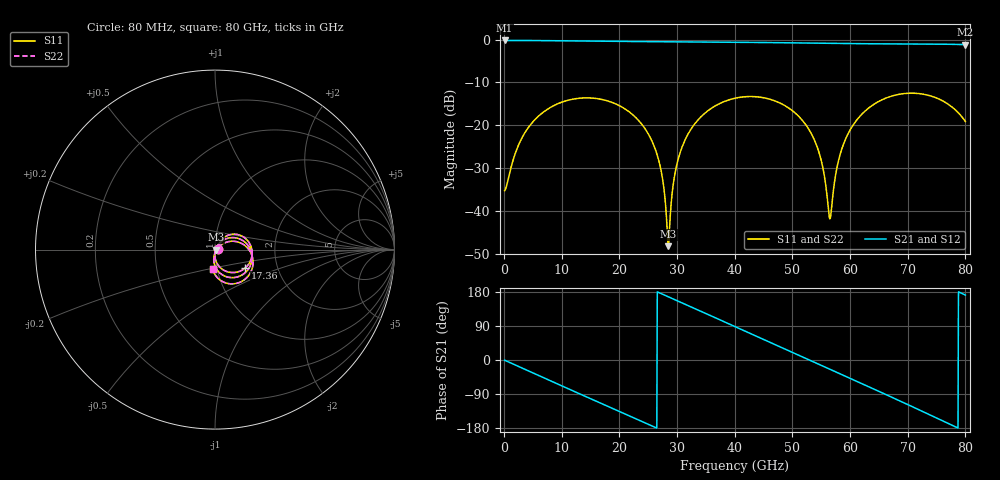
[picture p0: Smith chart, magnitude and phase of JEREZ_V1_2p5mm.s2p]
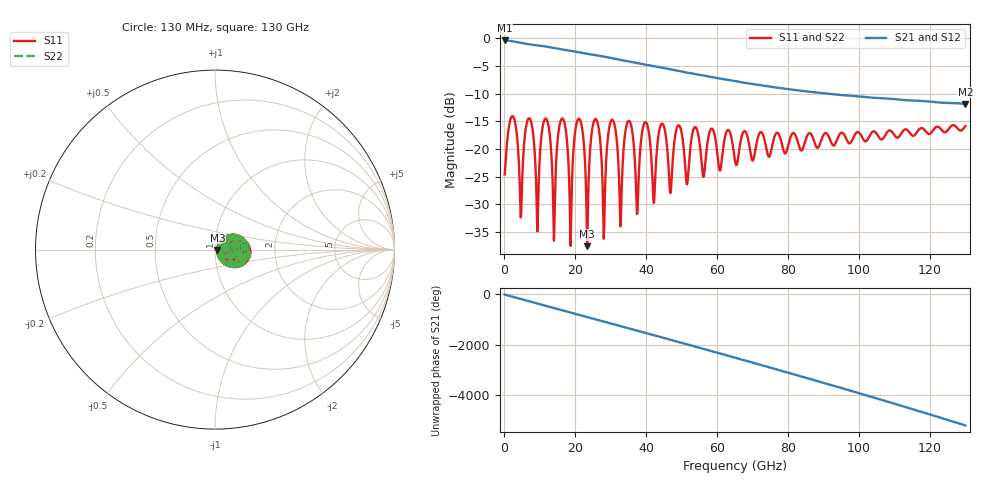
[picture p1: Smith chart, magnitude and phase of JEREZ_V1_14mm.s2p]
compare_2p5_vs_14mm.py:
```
"""Why does the 2.5 mm line, extrapolated to 14 mm, give a different EO bandwidth
than the 14 mm line?  (DESIGN_JEREZ_V1_suspe_siliconetch_275, CST TD.)

Run:  python compare_2p5_vs_14mm.py      -> prints the report, writes
      eo_bw_2p5_vs_14mm.png and eo_bw_2p5_vs_14mm.json next to this file.

Fixed choices (change here):  Rt = 55 ohm (load), Zs = 50 ohm (source),
n_g = 2.27 (thesis central value, 500-LHS range 2.24-2.29), device L = 14 mm.

The two CST runs are NOT identical apart from length.  From the file headers:
    2.5 mm : NCELL = 11, START_POSITION = 0.15 mm, w = 180 um
    14  mm : NCELL = 69, START_POSITION = 0.10 mm, w = 200 um
so the 2.5 mm line is 0.15 mm plain CPW + 2.2 mm loaded + 0.15 mm plain CPW
(12 % of its length unloaded), the 14 mm line is 1.4 % unloaded.
"""
import json
import os

import numpy as np
from scipy.optimize import minimize

from tline import (C0, abcd_to_s, bw3db, eo_db, eo_response, gamma_L,
                   read_s2p, s_to_abcd)

HERE = os.path.dirname(os.path.abspath(__file__))
RT, ZS, NG, LDEV = 55.0, 50.0, 2.27, 14e-3
L_S, L_L = 2.5e-3, 14e-3
END_S, LMID_S = 0.15e-3, 2.2e-3          # 2.5 mm line: unloaded ends, loaded core


def dbcm(g):                              # gamma [1/m] -> alpha [dB/cm]
    return 20 / np.log(10) * g.real / 100


def nm(f, g):
    return g.imag * C0 / (2 * np.pi * f)


# ---- ABCD helpers for de-embedding the unloaded end sections ---------------
def _line(g, z, L):
    return np.cosh(g * L), z * np.sinh(g * L), np.sinh(g * L) / z, np.cosh(g * L)


def _inv(X):
    A, B, C, D = X
    det = A * D - B * C
    return D / det, -B / det, -C / det, A / det


def _mul(X, Y):
    A1, B1, C1, D1 = X
    A2, B2, C2, D2 = Y
    return A1 * A2 + B1 * C2, A1 * B2 + B1 * D2, C1 * A2 + D1 * C2, C1 * B2 + D1 * D2


def _shunt(Y):
    o = np.ones_like(Y)
    return o, 0 * Y, Y, o


def _series(Z):
    o = np.ones_like(Z)
    return o, Z, 0 * Z, o


def deembed_ends(f, S, z0, p, alpha_u, end, lmid):
    """Strip an end box from both sides and return gamma [1/m], Zc of the core.
    End box, port side -> core:  plain CPW (n_u, Z_u, alpha_u [Np/m], length
    `end`), then a junction series L_j and shunt C_j.  p = (n_u, Z_u, C_j, L_j)."""
    n_u, z_u, c_j, l_j = p
    w = 2 * np.pi * f
    E = _mul(_line(alpha_u + 1j * w * n_u / C0, z_u + 0j, end),
             _mul(_series(1j * w * l_j), _shunt(1j * w * c_j)))
    E_out = (E[3], E[1], E[2], E[0])                  # mirrored box, output side
    core = _mul(_mul(_inv(E), s_to_abcd(S, z0)), _inv(E_out))
    gl, zc = gamma_L(abcd_to_s(*core, z0), z0)
    return gl / lmid, zc


END_MODELS = {'line': (0, 0), 'line+Cj': (1, 0), 'line+Lj': (0, 1), 'line+Cj+Lj': (1, 1)}


def fit_ends_from_short_line_only(f, S, z0, model='line'):
    """Choose the end-box parameters so the de-embedded core alpha(f), Zc(f)
    are smooth.  Uses ONLY the 2.5 mm file - nothing from the 14 mm line.
    Ends are assumed to lose like the core (self-consistent, 3 passes)."""
    use_c, use_l = END_MODELS[model]
    band = (f > 2e9) & (f < 79e9)
    au = np.zeros(len(f))
    unpack = lambda q: (q[0], q[1], q[2] * 1e-15 * use_c, q[3] * 1e-12 * use_l)

    def rough(q):
        g, z = deembed_ends(f, S, z0, unpack(q), au, END_S, LMID_S)
        return (np.sum(np.diff(dbcm(g)[band], 2) ** 2)
                + 1e-4 * np.sum(np.abs(np.diff(z[band], 2)) ** 2))

    starts = [[n0, z0_, c0, l0] for n0 in (1.9, 2.2) for z0_ in (50, 65)
              for c0 in ((0, 5, 20) if use_c else (0,))
              for l0 in ((0, 5, 20) if use_l else (0,))]
    for _ in range(3):
        best = min((minimize(rough, q0, method='Nelder-Mead',
                             options=dict(xatol=1e-5, fatol=1e-14, maxiter=8000))
                    for q0 in starts), key=lambda r: r.fun)
        p = unpack(best.x)
        g, z = deembed_ends(f, S, z0, p, au, END_S, LMID_S)
        k = np.polyfit(np.sqrt(f[band]), g.real[band], 1)
        au = np.polyval(k, np.sqrt(f)).clip(0)
    return p, k, g, z


def main():
    fs, Ss, z0 = read_s2p(os.path.join(HERE, 'data/JEREZ_V1_2p5mm.s2p'))
    fl, Sl, _ = read_s2p(os.path.join(HERE, 'data/JEREZ_V1_14mm.s2p'))
    fs, Ss, fl, Sl = fs[1:], Ss[1:], fl[1:], Sl[1:]    # drop DC (TD-extrapolated)

    gls, zs = gamma_L(Ss, z0)
    gll, zl = gamma_L(Sl, z0)
    g_s = gls / L_S
    # 14 mm quantities on the 2.5 mm grid (smooth, so interpolation is safe)
    g_l = (np.interp(fs, fl, gll.real) + 1j * np.interp(fs, fl, gll.imag)) / L_L
    z_l = np.interp(fs, fl, zl.real) + 1j * np.interp(fs, fl, zl.imag)

    def bw(g, z, f=fs):
        return bw3db(f, eo_db(eo_response(f, g, z, LDEV, NG, RT, ZS))) / 1e9

    res = {'settings': dict(Rt=RT, Zs=ZS, ng=NG, L_device_mm=LDEV * 1e3)}
    res['bw_GHz'] = {
        '2.5mm_extrapolated': bw(g_s, zs),
        '14mm': bw(gll / L_L, zl, fl),
    }
    # attribution: take alpha, beta, Zc from one line or the other
    att = {}
    for a in 'sl':
        for b in 'sl':
            for z in 'sl':
                g = ({'s': g_s, 'l': g_l}[a].real
                     + 1j * {'s': g_s, 'l': g_l}[b].imag)
                att[f'alpha={a},beta={b},Zc={z}'] = bw(g, {'s': zs, 'l': z_l}[z])
    res['attribution_GHz'] = att

    # half-wave resonances of the 2.5 mm line (beta L = k pi)
    n_mid = np.median(nm(fs, g_s)[(fs > 5e9)])
    res['halfwave_2p5mm_GHz'] = [k * C0 / (2 * n_mid * L_S) / 1e9 for k in (1, 2, 3)]

    # de-embed the ends: fit on the 2.5 mm file alone, apply the SAME end box
    # to the 14 mm line (its ends are 0.10 mm).  Four end models = sensitivity.
    sens = {}
    for model in END_MODELS:
        p, k, g_dm, z_dm = fit_ends_from_short_line_only(fs, Ss, z0, model)
        au_l = np.polyval(k, np.sqrt(fl)).clip(0)
        g_lm, z_lm = deembed_ends(fl, Sl, z0, p, au_l, 0.10e-3, 13.8e-3)
        row = dict(n_u=p[0], Z_u=p[1], C_j_fF=p[2] * 1e15, L_j_pH=p[3] * 1e12,
                   bw_2p5_deemb=bw(g_dm, z_dm), bw_14_deemb=bw(g_lm, z_lm, fl))
        for F in (20, 40, 60, 70):
            i, j = int(np.argmin(abs(fs - F * 1e9))), int(np.argmin(abs(fl - F * 1e9)))
            row[f'alpha{F}_2p5'] = dbcm(g_dm[i])
            row[f'alpha{F}_14'] = dbcm(g_lm[j])
        sens[model] = row
        if model == 'line':                 # physically plausible; used in the table/plot
            n_u, z_u, g_d, z_d = p[0], p[1], g_dm, z_dm
    res['end_model_sensitivity'] = sens
    res['ends_fit_from_2p5mm_only'] = dict(n_u=n_u, Z_u=z_u)
    res['bw_GHz']['2.5mm_deembedded_extrapolated'] = sens['line']['bw_2p5_deemb']
    # two-line estimate (length-independent error cancels, ends ~equal)
    g_2 = (g_l * L_L - gls) / (L_L - L_S)
    res['bw_GHz']['two_line(alpha,beta)+14mm_Zc'] = bw(g_2, z_l)

    band = (fs > 2e9) & (fs < 80e9)
    res['Zc_std_ohm'] = {'2.5mm': float(zs.real[band].std()),
                         '2.5mm_deembedded': float(z_d.real[band].std()),
                         '14mm': float(z_l.real[band].std())}
    tab = []
    for F in (10, 20, 30, 40, 50, 60, 70):
        i = int(np.argmin(abs(fs - F * 1e9)))
        tab.append(dict(f_GHz=F,
                        alpha_2p5=dbcm(g_s[i]), alpha_2p5_deemb=dbcm(g_d[i]),
                        alpha_14=dbcm(g_l[i]), alpha_twoline=dbcm(g_2[i]),
                        nm_2p5=nm(fs[i], g_s[i]), nm_2p5_deemb=nm(fs[i], g_d[i]),
                        nm_14=nm(fs[i], g_l[i]),
                        Zc_2p5=zs[i].real, Zc_2p5_deemb=z_d[i].real, Zc_14=z_l[i].real))
    res['table'] = tab

    # ---- report ------------------------------------------------------------
    print(f"Rt={RT} ohm  Zs={ZS} ohm  n_g={NG}  L={LDEV*1e3:.0f} mm")
    for k, v in res['bw_GHz'].items():
        print(f"  EO 3 dB BW  {k:32s} {v:6.2f} GHz" if np.isfinite(v)
              else f"  EO 3 dB BW  {k:32s}  > 80 GHz (no -3 dB crossing in band)")
    print("  2.5 mm half-wave resonances: "
          + ", ".join(f"{x:.1f}" for x in res['halfwave_2p5mm_GHz']) + " GHz")
    print(f"  ends fitted from 2.5 mm file alone: n_u={n_u:.3f}  Z_u={z_u:.1f} ohm")
    print("  Zc std 2-80 GHz: " + ", ".join(f"{k} {v:.1f}" for k, v in res['Zc_std_ohm'].items()))
    print("\n  f   | alpha dB/cm: 2.5  2.5de  14   2-line | n_m: 2.5   2.5de  14    | Zc: 2.5  2.5de  14")
    for r in tab:
        print(f"  {r['f_GHz']:3d} | {r['alpha_2p5']:10.2f} {r['alpha_2p5_deemb']:5.2f} {r['alpha_14']:5.2f} "
              f"{r['alpha_twoline']:5.2f} | {r['nm_2p5']:.3f} {r['nm_2p5_deemb']:.3f} {r['nm_14']:.3f} | "
              f"{r['Zc_2p5']:5.1f} {r['Zc_2p5_deemb']:5.1f} {r['Zc_14']:5.1f}")
    print("\n  end-model sensitivity (ends fitted on the 2.5 mm file only, same box applied to 14 mm):")
    print("    model        n_u   Z_u   Cj[fF]  Lj[pH] | alpha40 2.5/14 | alpha70 2.5/14 | BW 2.5de  14de")
    for m, r in res['end_model_sensitivity'].items():
        print(f"    {m:11s} {r['n_u']:5.2f} {r['Z_u']:5.1f} {r['C_j_fF']:7.1f} {r['L_j_pH']:7.1f} | "
              f"{r['alpha40_2p5']:5.2f} {r['alpha40_14']:5.2f}   | {r['alpha70_2p5']:5.2f} {r['alpha70_14']:5.2f}   | "
              f"{r['bw_2p5_deemb']:6.1f} {r['bw_14_deemb']:6.1f}")
    print("\n  attribution (which line each of alpha, beta, Zc comes from):")
    for k, v in att.items():
        print(f"    {k:22s} {v:6.2f} GHz")
    with open(os.path.join(HERE, 'eo_bw_2p5_vs_14mm.json'), 'w') as fh:
        json.dump(res, fh, indent=1, default=float)

    plot(fs, fl, g_s, zs, g_d, z_d, gll / L_L, zl, res)


def plot(fs, fl, g_s, zs, g_d, z_d, g14, z14, res):
    import matplotlib
    matplotlib.use('Agg')
    import matplotlib.pyplot as plt
    ink, ink2, grid, surf = '#0b0b0b', '#52514e', '#e4e3df', '#fcfcfb'
    c14, c25, c25d = '#2a78d6', '#eb6834', '#1baf7a'   # categorical slots 1-3
    plt.rcParams.update({'font.size': 9, 'axes.edgecolor': ink2, 'axes.labelcolor': ink,
                         'xtick.color': ink2, 'ytick.color': ink2, 'text.color': ink,
                         'axes.facecolor': surf, 'figure.facecolor': surf})
    fig, ax = plt.subplots(2, 2, figsize=(11, 7.2), sharex=True)
    eo = lambda f, g, z: eo_db(eo_response(f, g, z, LDEV, NG, RT, ZS))
    b = res['bw_GHz']
    series = [
        (fl, g14, z14, c14, f"14 mm line  (BW {b['14mm']:.1f} GHz)"),
        (fs, g_s, zs, c25, f"2.5 mm line, extrapolated  (BW {b['2.5mm_extrapolated']:.1f} GHz)"),
        (fs, g_d, z_d, c25d, "2.5 mm line, ends de-embedded  (BW > 80 GHz)"),
    ]
    for f, g, z, c, lab in series:
        ax[0, 0].plot(f / 1e9, eo(f, g, z), color=c, lw=2, label=lab)
        ax[0, 1].plot(f / 1e9, z.real, color=c, lw=2)
        ax[1, 0].plot(f / 1e9, dbcm(g), color=c, lw=2)
        ax[1, 1].plot(f / 1e9, nm(f, g), color=c, lw=2)
    ax[0, 0].axhline(-3, color=ink2, lw=1, ls='--')
    ax[0, 0].set_ylim(-8, 3)
    ax[0, 1].set_ylim(20, 100)
    ax[1, 0].set_ylim(-1, 9)
    ax[1, 1].set_ylim(2.15, 2.40)
    titles = ['EO response at 14 mm (Rt 55 Ω, Zs 50 Ω, n_g 2.27) [dB]',
              'Re Zc from √(B/C) [Ω]', 'α per unit length [dB/cm]', 'n_m']
    for a, t in zip(ax.ravel(), titles):
        a.set_title(t, loc='left', fontsize=10, color=ink)
        a.grid(color=grid, lw=0.8)
        a.set_axisbelow(True)
        for s in ('top', 'right'):
            a.spines[s].set_visible(False)
        for x in res['halfwave_2p5mm_GHz']:
            a.axvline(x, color=ink2, lw=0.8, ls=':')
        a.set_xlim(0, 80)
    ax[0, 1].text(res['halfwave_2p5mm_GHz'][0] + 0.8, 92,
                  'dotted: half-wave resonances\nof the 2.5 mm line (βL = kπ)',
                  color=ink2, fontsize=8, va='top')
    for a in ax[1]:
        a.set_xlabel('frequency [GHz]')
    ax[0, 0].legend(loc='lower left', frameon=False, fontsize=8.5)
    fig.tight_layout()
    fig.savefig(os.path.join(HERE, 'eo_bw_2p5_vs_14mm.png'), dpi=150)


if __name__ == '__main__':
    main()
```
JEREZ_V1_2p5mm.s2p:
! TOUCHSTONE file generated by CST MICROWAVE STUDIO
! Date and time: Wed Sep 16 13:43:48 2026
! Project name: DESIGN_JEREZ_V1_suspe_siliconetch_275.cst
! Parameters = {LATERAL2=0.01; GAP=0.00415; L=2.5; L1=0.02; L2=0.18; L3=0.076; NCELL=11; PITCH=0.2; PROCESS=0.001; START_POSITION=0.15; W1=0.002; W2=0.02; W3=0.021; W3A1=0; WG=0.04; buffer_oxidine=0.004; gap_oxide_oxv=0.014; gap_oxr=0.00125; lateral_etch=0.005; linbo3_thickness=0.000275; margine_frr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
! Header version: 2024
! Port assignment regex: !\s*Touchstone port\s*([0-9]+)\s*=\s*(CST MWS port|CST DES external port|CST DES block port)\s*(.+)\s* \(\"(.*)\"\)(\s*mode\s*([0-9]+))?.*
! Touchstone port assignment:
! Touchstone port 1 = CST MWS port 1 ("")
! Touchstone port 2 = CST MWS port 2 ("")
# GHz S MA R 50
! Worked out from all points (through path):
!   1000 points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, 80 MHz to 80 GHz, reference 50 ohm
!   highest |S21| = -0.21 dB at 80 MHz (marker M1); lowest = -1.2 dB at 80 GHz (marker M2)
!   group delay of S21, straight-line fit = 19 ps
!   lowest |S11| = -48.2 dB at 28.48 GHz (marker M3), VSWR 1.01, Z = 50.4 - j0.107 ohm
!   |S11| at or under -10 dB: start of sweep to end of sweep
!   |S22| runs from -48.2 to -12.5 dB; largest |S21 - S12| = 1.7e-06
!   S11 on the Smith chart (normalised r, x): 80 MHz: 1.03, +0.00; 17.36 GHz: 1.37, -0.29; 80 GHz: 0.95, -0.21
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0.08  0.01719 5.5  0.9765 -0.5  0.9765 -0.5  0.01719 5.5
6  0.1283 41.7  0.9732 -41.0  0.9732 -41.0  0.1283 41.7
17.36  0.1969 -31.4  0.956 -118.2  0.956 -118.2  0.1969 -31.4
25.36  0.07133 -83.4  0.9457 -172.1  0.9457 -172.1  0.07134 -83.4
28.48  0.003868 -15.9  0.943 166.8  0.943 166.8  0.003884 -16.1
31.68  0.07402 47.6  0.9405 145.1  0.9405 145.1  0.07401 47.5
40.08  0.2068 -7.5  0.9322 87.9  0.9322 87.9  0.2068 -7.5
51.68  0.1149 -83.9  0.9104 8.5  0.9104 8.5  0.1149 -83.9
56.48  0.008058 -34.9  0.9014 -24.3  0.9014 -24.3  0.008056 -34.9
64.4  0.1802 3.3  0.8932 -78.6  0.8932 -78.6  0.1802 3.4
80  0.1106 -96.7  0.8736 171.3  0.8736 171.3  0.1106 -96.7
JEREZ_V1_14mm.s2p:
! TOUCHSTONE file generated by CST MICROWAVE STUDIO
! Date and time: Thu Sep 17 08:45:15 2026
! Project name: DESIGN_JEREZ_V1_suspe_siliconetch_275_14mm.cst
! Parameters = {GAP=0.00415; L=14; L1=0.02; L2=0.18; L3=0.076; LATERAL2=0.01; NCELL=69; PITCH=0.2; PROCESS=0.001; START_POSITION=0.1; W1=0.002; W2=0.02; W3=0.021; W3A1=0; WG=0.04; buffer_oxidine=0.004; gap_oxide_oxv=0.014; gap_oxr=0.00125; lateral_etch=0.005; linbo3_thickness=0.000275; margine_frr=0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
! Header version: 2024
! Port assignment regex: !\s*Touchstone port\s*([0-9]+)\s*=\s*(CST MWS port|CST DES external port|CST DES block port)\s*(.+)\s* \(\"(.*)\"\)(\s*mode\s*([0-9]+))?.*
! Touchstone port assignment:
! Touchstone port 1 = CST MWS port 1 ("")
! Touchstone port 2 = CST MWS port 2 ("")
# GHz S MA R 50
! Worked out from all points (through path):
!   1000 points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, 130 MHz to 130 GHz, reference 50 ohm
!   highest |S21| = -0.40 dB at 130 MHz (marker M1); lowest = -11.9 dB at 130 GHz (marker M2)
!   lowest |S11| = -37.6 dB at 23.4 GHz (marker M3), VSWR 1.03, Z = 51.3 - j0.177 ohm
!   |S11| at or under -10 dB: start of sweep to end of sweep
!   |S22| runs from -37.7 to -14.1 dB; largest |S21 - S12| = 6.2e-06
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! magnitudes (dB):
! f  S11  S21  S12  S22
! 130 MHz  -24.6  -0.4  -0.4  -24.6
! 16.38 GHz  -14.5  -2.0  -2.0  -14.5
! 18.72 GHz  -37.6  -2.3  -2.3  -37.7
! 21.06 GHz  -14.5  -2.5  -2.5  -14.5
! 23.4 GHz  -37.6  -2.8  -2.8  -37.6
! 25.74 GHz  -14.6  -3.1  -3.1  -14.6
! 28.08 GHz  -36.2  -3.3  -3.3  -36.2
! 30.42 GHz  -14.7  -3.6  -3.6  -14.7
! 32.76 GHz  -34.0  -3.9  -3.9  -34.0
! 65.13 GHz  -22.4  -7.8  -7.8  -22.4
! 130 GHz  -15.9  -11.9  -11.9  -15.9
